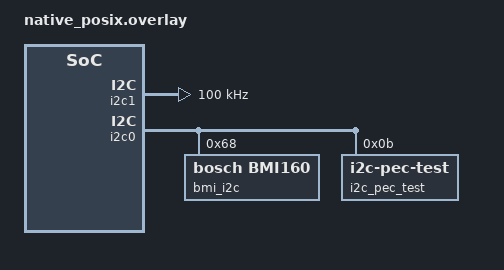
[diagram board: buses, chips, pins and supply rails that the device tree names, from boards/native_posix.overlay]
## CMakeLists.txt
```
# Copyright 2020 The ChromiumOS Authors
# Use of this source code is governed by a BSD-style license that can be
# found in the LICENSE file.

cmake_minimum_required(VERSION 3.13.1)
find_package(Zephyr REQUIRED HINTS "${ZEPHYR_BASE}")
project(i2c)

target_sources(app PRIVATE src/common.c)

target_sources_ifdef(CONFIG_TEST_I2C_DEFAULT app PRIVATE src/default.c)

target_sources_ifdef(CONFIG_TEST_I2C_PEC app PRIVATE src/pec.c)
```

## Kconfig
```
# Copyright 2023 The ChromiumOS Authors
# Use of this source code is governed by a BSD-style license that can be
# found in the LICENSE file.

config TEST_I2C_DEFAULT
	bool "Enable default tests"

config TEST_I2C_PEC
	bool "Enable PEC tests"

source "Kconfig.zephyr"
```

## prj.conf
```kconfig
# Copyright 2020 The ChromiumOS Authors
# Use of this source code is governed by a BSD-style license that can be
# found in the LICENSE file.

CONFIG_ZTEST=y
CONFIG_ZTEST_NEW_API=y

CONFIG_EMUL=y
CONFIG_EMUL_BMI160=y
CONFIG_SENSOR=y
CONFIG_BMI160_TRIGGER_NONE=y

CONFIG_PLATFORM_EC=y
CONFIG_CROS_EC=y

# TODO(b/173711210) figure out why SPI is required here when we're not using it.
CONFIG_SPI=y

CONFIG_PLATFORM_EC_CBI=n
```

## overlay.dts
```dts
/* Copyright 2020 The Chromium OS Authors. All rights reserved.
 * Use of this source code is governed by a BSD-style license that can be
 * found in the LICENSE file.
 */

/ {
	i2c1: i2c@400 {
		status = "okay";
		compatible = "zephyr,i2c-emul-controller";
		clock-frequency = <I2C_BITRATE_STANDARD>;
		#address-cells = <1>;
		#size-cells = <0>;
		reg = <0x400 4>;
		label = "I2C_1";
	};

	named-i2c-ports {
		compatible = "named-i2c-ports";
		accel-0 {
			i2c-port = <&i2c0>;
			enum-names = "I2C_PORT_ACCEL",
				"I2C_PORT_EEPROM";
		};
		usb-c1 {
			i2c-port = <&i2c1>;
			enum-names = "I2C_PORT_USB_C1";
		};
	};
};

&i2c0 {
	bmi_i2c: bmi@68 {
		compatible = "bosch,bmi160";
		reg = <0x68>;
		label = "accel-i2c";
	};
};
```

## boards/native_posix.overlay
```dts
/* Copyright 2020 The ChromiumOS Authors
 * Use of this source code is governed by a BSD-style license that can be
 * found in the LICENSE file.
 */

#include <board-overlays/native_posix.dts>

/ {
	i2c1: i2c@400 {
		status = "okay";
		compatible = "zephyr,i2c-emul-controller";
		clock-frequency = <I2C_BITRATE_STANDARD>;
		#address-cells = <1>;
		#size-cells = <0>;
		reg = <0x400 4>;
	};

	named-i2c-ports {
		compatible = "named-i2c-ports";
		accel-0 {
			i2c-port = <&i2c0>;
			enum-names = "I2C_PORT_ACCEL",
				"I2C_PORT_EEPROM";
		};
		usb-c1 {
			i2c-port = <&i2c1>;
			enum-names = "I2C_PORT_USB_C1";
		};
	};
};

&i2c0 {
	bmi_i2c: bmi@68 {
		compatible = "bosch,bmi160";
		reg = <0x68>;
	};

	i2c_pec_test: i2c_pec_test@b {
		compatible = "zephyr,i2c-pec-test";
		reg = <0x0b>;
		status = "okay";
	};
};
```

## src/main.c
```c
/* Copyright 2020 The ChromiumOS Authors. All rights reserved.
 * Use of this source code is governed by a BSD-style license that can be
 * found in the LICENSE file.
 */

#include <zephyr/devicetree.h>
#include <ztest.h>

#include "common.h"
#include "i2c/i2c.h"

/* Unused: required for shimming i2c. */
void watchdog_reload(void)
{
}

static void test_i2c_port_count(void)
{
	zassert_equal(NAMED_I2C(accel_0), 0,
		      "accel_0 expected to be 0 but was %d",
		      NAMED_I2C(accel_0));
	zassert_equal(I2C_PORT_COUNT, 1,
		      "I2C_PORT_COUNT expected to be 1 but was %d",
		      I2C_PORT_COUNT);
}

/* Test case main entry. */
void test_main(void)
{
	ztest_test_suite(test_i2c, ztest_user_unit_test(test_i2c_port_count));
	ztest_run_test_suite(test_i2c);
}
```

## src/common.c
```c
/*
 * Copyright 2023 The ChromiumOS Authors
 * Use of this source code is governed by a BSD-style license that can be
 * found in the LICENSE file.
 */

#include <zephyr/ztest.h>

ZTEST_SUITE(i2c, NULL, NULL, NULL, NULL, NULL);
```

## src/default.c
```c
/* Copyright 2020 The ChromiumOS Authors
 * Use of this source code is governed by a BSD-style license that can be
 * found in the LICENSE file.
 */

#include "common.h"
#include "i2c.h"
#include "i2c/i2c.h"

#include <zephyr/devicetree.h>
#include <zephyr/drivers/emul.h>
#include <zephyr/drivers/i2c_pec_test_emul.h>
#include <zephyr/ztest.h>

/* Unused: required for shimming i2c. */
void watchdog_reload(void)
{
}

ZTEST_USER(i2c, test_i2c_port_count)
{
	zassert_equal(I2C_PORT_COUNT, 2,
		      "I2C_PORT_COUNT expected to be 2 but was %d",
		      I2C_PORT_COUNT);
}

ZTEST_USER(i2c, test_i2c_lock_invalid_port)
{
	i2c_lock(-1, 1);
	zassert_equal(i2c_port_is_locked(-1), 0,
		      "Negative I2C port locked, but should have failed");

	i2c_lock(INT_MAX, 1);
	zassert_equal(i2c_port_is_locked(INT_MAX), 0,
		      "MAX_INT I2C port locked, but should have failed");
}

ZTEST_USER(i2c, test_i2c_lock)
{
	i2c_lock(I2C_PORT_ACCEL, 1);
	zassert_equal(i2c_port_is_locked(I2C_PORT_EEPROM), 1,
		      "I2C_PORT_EEPROM not locked");
	zassert_equal(i2c_port_is_locked(I2C_PORT_ACCEL), 1,
		      "I2C_PORT_ACCEL not locked");

	/* Unlock different enum pointing the same i2c device */
	i2c_lock(I2C_PORT_EEPROM, 0);
	zassert_equal(i2c_port_is_locked(I2C_PORT_EEPROM), 0,
		      "I2C_PORT_EEPROM not locked");
	zassert_equal(i2c_port_is_locked(I2C_PORT_ACCEL), 0,
		      "I2C_PORT_ACCEL not locked");

	i2c_lock(I2C_PORT_EEPROM, 1);
	/* Verify different i2c device */
	zassert_equal(i2c_port_is_locked(I2C_PORT_USB_C1), 0,
		      "I2C_PORT_USB_C1 locked");

	i2c_lock(I2C_PORT_USB_C1, 1);
	/* Make sure i2c device is locked*/
	zassert_equal(i2c_port_is_locked(I2C_PORT_USB_C1), 1,
		      "I2C_PORT_USB_C1 locked");

	/* Another i2c device is still locked */
	i2c_lock(I2C_PORT_USB_C1, 0);
	zassert_equal(i2c_port_is_locked(I2C_PORT_EEPROM), 1,
		      "I2C_PORT_EEPROM not locked");
	i2c_lock(I2C_PORT_EEPROM, 0);
}
```

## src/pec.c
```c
/*
 * Copyright 2023 The ChromiumOS Authors
 * Use of this source code is governed by a BSD-style license that can be
 * found in the LICENSE file.
 */

#include "common.h"
#include "i2c.h"
#include "i2c/i2c.h"

#include <zephyr/devicetree.h>
#include <zephyr/drivers/emul.h>
#include <zephyr/drivers/i2c_pec_test_emul.h>
#include <zephyr/ztest.h>

#define PEC_PORT I2C_PORT_EEPROM
#define PEC_ADDR (0x0b | I2C_FLAG_PEC)
#define PEC_EMUL EMUL_DT_GET(DT_NODELABEL(i2c_pec_test))

int platform_ec_i2c_read(const int port, const uint16_t addr_flags, uint8_t reg,
			 uint8_t *in, int in_size);

int platform_ec_i2c_write(const int port, const uint16_t addr_flags,
			  const uint8_t *out, int out_size);

static const uint8_t pec_write_pattern[] = { 0, 16, 0, 1,  2,  3,  4,  5,  6,
					     7, 8,  9, 10, 11, 12, 13, 14, 15 };
static const uint8_t pec_block_pattern[] = { 16, 0, 1,	2,  3,	4,  5,	6, 7,
					     8,	 9, 10, 11, 12, 13, 14, 15 };
static uint8_t buf[sizeof(pec_block_pattern)];

/* Test read and writes with PEC enabled. */
ZTEST_USER(i2c, test_i2c_pec_rw)
{
	int rv;
	int len = 0;

	/* Test basic read and write. */
	rv = platform_ec_i2c_write(PEC_PORT, PEC_ADDR, pec_write_pattern,
				   sizeof(pec_write_pattern));
	zassert_ok(rv);

	memset(buf, 0, sizeof(buf));
	rv = platform_ec_i2c_read(PEC_PORT, PEC_ADDR, 0, buf, sizeof(buf));
	zassert_ok(rv);
	zassert_ok(memcmp(pec_block_pattern, buf, sizeof(pec_block_pattern)));

	i2c_pec_test_euml_reset(PEC_EMUL);

	/* Test block accesses. */
	rv = i2c_write_block(PEC_PORT, PEC_ADDR, 0, pec_block_pattern,
			     sizeof(pec_block_pattern));
	zassert_ok(rv);

	memset(buf, 0, sizeof(buf));
	rv = i2c_read_sized_block(PEC_PORT, PEC_ADDR, 0, buf, sizeof(buf),
				  &len);
	zassert_ok(rv);
	zassert_equal(len, 16);
	/* +/- 1 because i2c_read_sized_block consumes the length. */
	zassert_ok(memcmp(pec_block_pattern + 1, buf,
			  sizeof(pec_block_pattern) - 1));
}

/* Test read and writes with PEC corruption enabled. */
ZTEST_USER(i2c, test_i2c_pec_corrupt)
{
	int rv;
	int len = 0;

	i2c_pec_test_emul_set_corrupt(PEC_EMUL, true);

	/* Test basic read and write. */
	/*
	 * CRC failure on write can't be distinguished from other errors by the
	 * host.
	 */
	rv = platform_ec_i2c_write(PEC_PORT, PEC_ADDR, pec_write_pattern,
				   sizeof(pec_write_pattern));
	zassert_equal(rv, EC_ERROR_INVAL);

	memset(buf, 0, sizeof(buf));
	rv = platform_ec_i2c_read(PEC_PORT, PEC_ADDR, 0, buf, sizeof(buf));
	zassert_equal(rv, EC_ERROR_CRC);

	i2c_pec_test_euml_reset(PEC_EMUL);
	i2c_pec_test_emul_set_corrupt(PEC_EMUL, true);

	/* Test block accesses. */
	rv = i2c_write_block(PEC_PORT, PEC_ADDR, 0, pec_block_pattern,
			     sizeof(pec_block_pattern));
	zassert_equal(rv, EC_ERROR_INVAL);

	rv = i2c_read_sized_block(PEC_PORT, PEC_ADDR, 0, buf, sizeof(buf),
				  &len);
	zassert_equal(rv, EC_ERROR_CRC);
}
```
